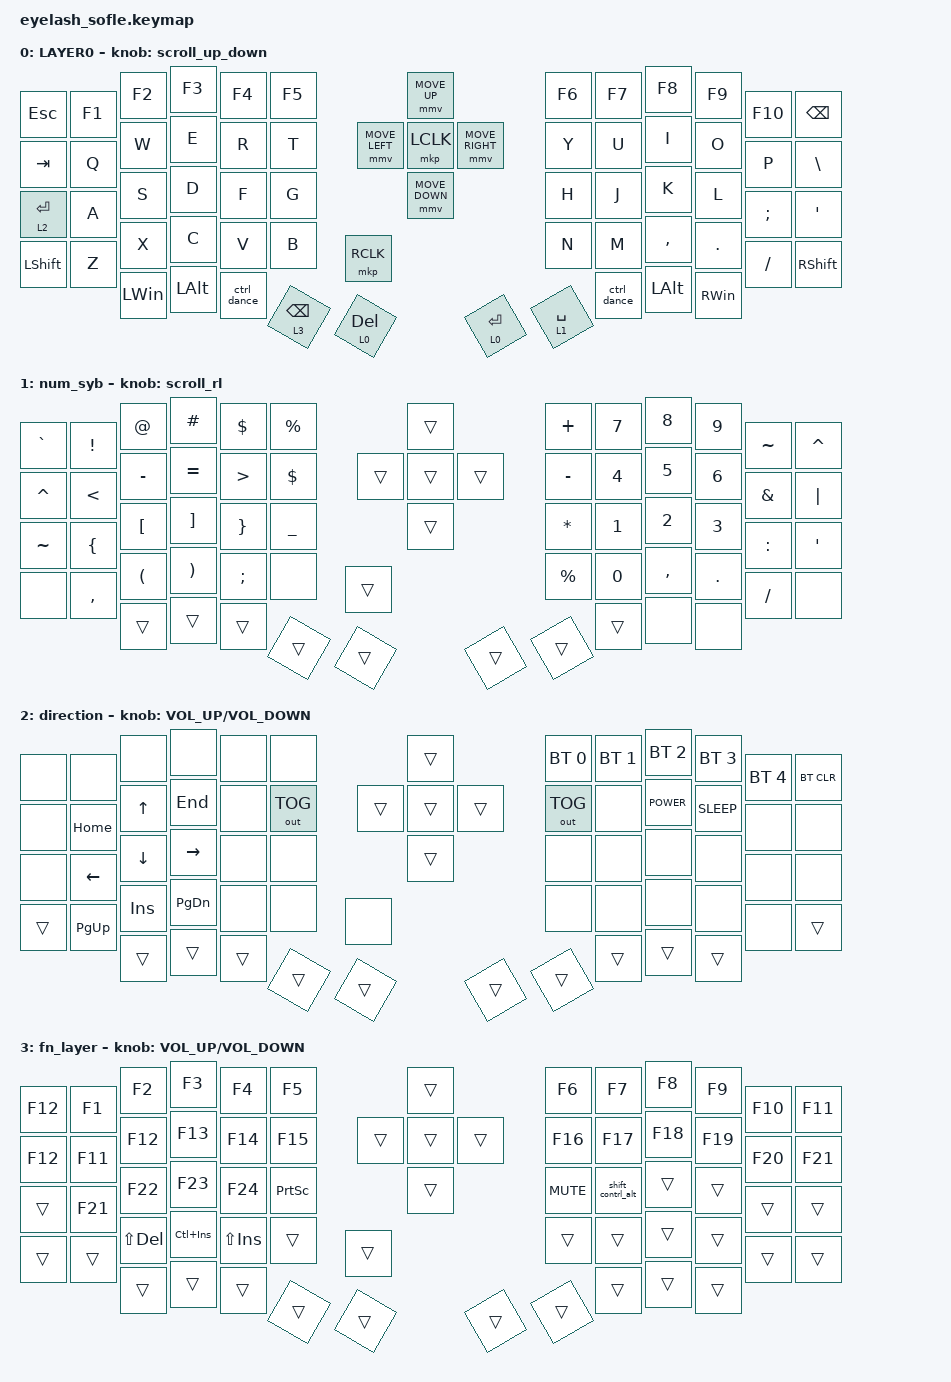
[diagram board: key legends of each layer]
// config/eyelash_sofle.keymap

#define ZMK_POINTING_DEFAULT_MOVE_VAL 900
#define ZMK_POINTING_DEFAULT_SCRL_VAL 120

#include <input/processors.dtsi>
#include <zephyr/dt-bindings/input/input-event-codes.h>
#include <zephyr/dt-bindings/input/input-event-codes.h>
#include <behaviors.dtsi>
#include <dt-bindings/zmk/bt.h>
#include <dt-bindings/zmk/keys.h>
#include <dt-bindings/zmk/outputs.h>
#include <dt-bindings/zmk/pointing.h>

/ {
    zip_scroll_scaler: zip_scroll_scaler {
        compatible = "zmk,input-processor-scaler";
        #input-processor-cells = <2>;
        type = <INPUT_EV_REL>;
        codes = <INPUT_REL_WHEEL INPUT_REL_HWHEEL>;
        track-remainders;
    };
};

// &mmv_input_listener { input-processors = <&zip_xy_scaler 1 1>; };
// &msc_input_listener { input-processors = <&zip_scroll_scaler 1 1>; };

&msc {
    acceleration-exponent = <1>;
    time-to-max-speed-ms = <300>;
    delay-ms = <0>;
};

&mmv {
    acceleration-exponent = <1>;
    time-to-max-speed-ms = <240>;
    trigger-period-ms = <16>;
};

/ {
    scroll_up_down: scroll_up_down {
        compatible = "zmk,behavior-sensor-rotate";
        #sensor-binding-cells = <0>;
        bindings = <&msc SCRL_DOWN>, <&msc SCRL_UP>;

        label = "SCROLL_UP_DOWN";
        tap-ms = <80>;
    };

    scroll_rl: scroll_rl {
        compatible = "zmk,behavior-sensor-rotate";
        #sensor-binding-cells = <0>;
        bindings = <&msc SCRL_LEFT>, <&msc SCRL_RIGHT>;

        label = "SCROLL_RL";
        tap-ms = <80>;
    };

    ctrl_dance: ctrl_dance {
        compatible = "zmk,behavior-tap-dance";
        label = "CTRL_DANCE";
        #binding-cells = <0>;
        bindings = <&kp LEFT_CONTROL>, <&kp RIGHT_CONTROL>;

        tapping-term-ms = <220>;
    };

    fn_tap: fn_tap {
        compatible = "zmk,behavior-hold-tap";
        label = "FN_TAP";
        bindings = <&mo>, <&kp>;

        #binding-cells = <2>;
        quick-tap-ms = <220>;
        tapping-term-ms = <150>;
        flavor = "tap-preferred";
    };

    combos { compatible = "zmk,combos"; };

    behaviors {
    };

    macros {
        shift_contrl_alt: shift_contrl_alt {
            compatible = "zmk,behavior-macro";
            #binding-cells = <0>;
            bindings = <&kp LEFT_SHIFT &kp LCTRL &kp LEFT_ALT>;
            label = "SHIFT_CONTRL_ALT";
        };
    };

    keymap {
        compatible = "zmk,keymap";

        default {
            bindings = <
&kp ESC      &kp F1        &kp F2    &kp F3       &kp F4               &kp F5           &mmv MOVE_UP     &kp F6           &kp F7           &kp F8       &kp F9    &kp F10        &kp BACKSPACE
&kp TAB      &kp Q         &kp W     &kp E        &kp R                &kp T            &mmv MOVE_DOWN   &kp Y            &kp U            &kp I        &kp O     &kp P          &kp BSLH
&lt 2 ENTER  &kp A         &kp S     &kp D        &kp F                &kp G            &mmv MOVE_LEFT   &kp H            &kp J            &kp K        &kp L     &kp SEMI       &kp APOS
&kp LSHFT    &kp Z         &kp X     &kp C        &kp V                &kp B            &mmv MOVE_RIGHT  &kp N            &kp M            &kp COMMA    &kp DOT   &kp FSLH       &kp RIGHT_SHIFT
&mkp RCLK    &kp LEFT_WIN  &kp LALT  &ctrl_dance  &fn_tap 3 BACKSPACE  &fn_tap 0 DEL    &mkp LCLK        &fn_tap 0 ENTER  &fn_tap 1 SPACE  &ctrl_dance  &kp LALT  &kp RIGHT_WIN
            >;

            sensor-bindings = <&scroll_up_down>;
            display-name = "LAYER0";
        };

        num_syb {
            bindings = <
&kp GRAVE  &kp EXCL   &kp AT     &kp HASH   &kp DOLLAR  &kp PERCENT       &trans  &kp PLUS     &kp N7  &kp N8     &kp N9   &kp TILDE  &kp CARET
&kp CARET  &kp LT     &kp MINUS  &kp EQUAL  &kp GT      &kp DOLLAR        &trans  &kp MINUS    &kp N4  &kp N5     &kp N6   &kp AMPS   &kp PIPE
&kp TILDE  &kp LBRC   &kp LBKT   &kp RBKT   &kp RBRC    &kp UNDERSCORE    &trans  &kp ASTRK    &kp N1  &kp N2     &kp N3   &kp COLON  &kp SQT
&none      &kp COMMA  &kp LPAR   &kp RPAR   &kp SEMI    &none             &trans  &kp PERCENT  &kp N0  &kp COMMA  &kp DOT  &kp FSLH   &none
&trans     &trans     &trans     &trans     &trans      &trans            &trans  &trans       &trans  &trans     &none    &none
            >;

            sensor-bindings = <&scroll_rl>;
        };

        direction {
            bindings = <
&none   &none      &none       &none      &none   &none           &trans  &bt BT_SEL 0  &bt BT_SEL 1  &bt BT_SEL 2  &bt BT_SEL 3  &bt BT_SEL 4  &bt BT_CLR
&none   &kp HOME   &kp UP      &kp END    &none   &out OUT_TOG    &trans  &out OUT_TOG  &none         &kp C_POWER   &kp C_SLEEP   &none         &none
&none   &kp LEFT   &kp DOWN    &kp RIGHT  &none   &none           &trans  &none         &none         &none         &none         &none         &none
&trans  &kp PG_UP  &kp INSERT  &kp PG_DN  &none   &none           &trans  &none         &none         &none         &none         &none         &trans
&none   &trans     &trans      &trans     &trans  &trans          &trans  &trans        &trans        &trans        &trans        &trans
            >;

            sensor-bindings = <&inc_dec_kp C_VOLUME_UP C_VOLUME_DOWN>;
        };

        fn_layer {
            bindings = <
&kp F12  &kp F1   &kp F2          &kp F3          &kp F4          &kp F5             &trans  &kp F6      &kp F7             &kp F8   &kp F9   &kp F10  &kp F11
&kp F12  &kp F11  &kp F12         &kp F13         &kp F14         &kp F15            &trans  &kp F16     &kp F17            &kp F18  &kp F19  &kp F20  &kp F21
&trans   &kp F21  &kp F22         &kp F23         &kp F24         &kp PRINTSCREEN    &trans  &kp K_MUTE  &shift_contrl_alt  &trans   &trans   &trans   &trans
&trans   &trans   &kp LS(DELETE)  &kp LC(INSERT)  &kp LS(INSERT)  &trans             &trans  &trans      &trans             &trans   &trans   &trans   &trans
&trans   &trans   &trans          &trans          &trans          &trans             &trans  &trans      &trans             &trans   &trans   &trans
            >;

            sensor-bindings = <&inc_dec_kp C_VOLUME_UP C_VOLUME_DOWN>;
        };
    };
};
